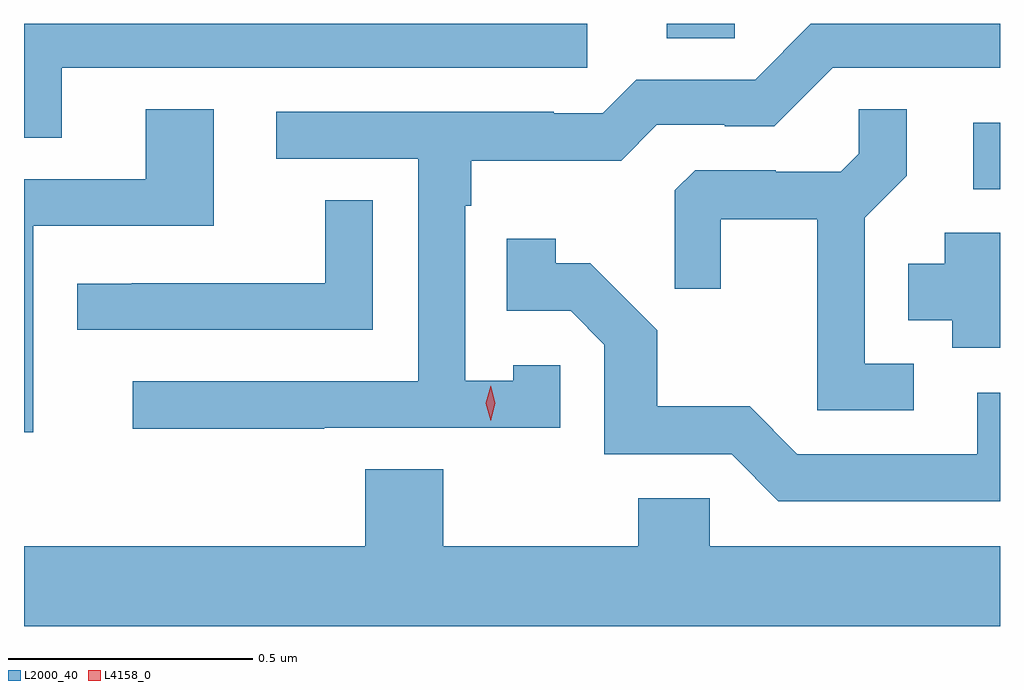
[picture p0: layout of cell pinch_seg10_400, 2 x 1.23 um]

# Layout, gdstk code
import gdstk
lib = gdstk.Library(unit=1e-6, precision=1e-09)
def R(c, l, rs):  # rectangles x0, y0, x1, y1
    for r in rs: c.add(gdstk.rectangle(r[:2], r[2:], *l))
def P(c, l, *ps):  # polygons
    for p in ps: c.add(gdstk.Polygon(p, *l))
L2000_40 = (2000, 40)
L4158_0 = (4158, 0)

pinch_seg10_400 = lib.new_cell('pinch_seg10_400')
R(pinch_seg10_400, L2000_40, [(551.883,1259.919,551.938,1260.055), (551.255,1260.229,551.394,1260.258)])
P(pinch_seg10_400, L2000_40, [(550.553,1259.43),(551.037,1259.43),(551.037,1259.559),(550.941,1259.559),(550.941,1259.527),(550.842,1259.527),(550.842,1259.885),(550.855,1259.885),(550.855,1259.978),(551.162,1259.978),(551.235,1260.051),(551.374,1260.051),(551.374,1260.048),(551.475,1260.048),(551.595,1260.168),(551.938,1260.168),(551.938,1260.258),(551.55,1260.258),(551.436,1260.144),(551.193,1260.144),(551.124,1260.075),(551.024,1260.075),(551.024,1260.078),(550.455,1260.078),(550.455,1259.982),(550.746,1259.982),(550.746,1259.526),(550.161,1259.526),(550.161,1259.428),(550.553,1259.428)],
  [(550.015,1260.168),(551.092,1260.168),(551.092,1260.258),(549.938,1260.258),(549.938,1260.025),(550.015,1260.025)],
  [(549.957,1259.844),(550.327,1259.844),(550.327,1260.083),(550.187,1260.083),(550.187,1259.94),(549.938,1259.94),(549.938,1259.421),(549.957,1259.421)],
  [(551.761,1259.562),(551.661,1259.562),(551.661,1259.861),(551.747,1259.947),(551.747,1260.083),(551.649,1260.083),(551.649,1259.992),(551.612,1259.955),(551.478,1259.955),(551.478,1259.958),(551.313,1259.958),(551.272,1259.917),(551.272,1259.715),(551.366,1259.715),(551.366,1259.858),(551.564,1259.858),(551.564,1259.466),(551.761,1259.466)],
  [(550.653,1259.897),(550.555,1259.897),(550.555,1259.727),(550.159,1259.727),(550.159,1259.726),(550.047,1259.726),(550.047,1259.631),(550.653,1259.631)],
  [(551.938,1259.83),(551.825,1259.83),(551.825,1259.767),(551.75,1259.767),(551.75,1259.651),(551.84,1259.651),(551.84,1259.594),(551.938,1259.594)],
  [(551.938,1259.502),(551.891,1259.502),(551.891,1259.376),(551.523,1259.376),(551.425,1259.475),(551.236,1259.475),(551.236,1259.63),(551.098,1259.768),(551.028,1259.768),(551.028,1259.818),(550.927,1259.818),(550.927,1259.67),(551.058,1259.67),(551.127,1259.601),(551.127,1259.376),(551.388,1259.376),(551.484,1259.28),(551.938,1259.28)],
  [(551.938,1259.188),(551.343,1259.188),(551.343,1259.286),(551.197,1259.286),(551.197,1259.188),(550.797,1259.188),(550.797,1259.345),(550.637,1259.345),(550.637,1259.188),(549.938,1259.188),(549.938,1259.024),(551.938,1259.024)])
P(pinch_seg10_400, L4158_0, [(550.894,1259.445),(550.894,1259.445),(550.884,1259.481),(550.894,1259.517),(550.894,1259.517),(550.894,1259.517),(550.904,1259.481),(550.894,1259.445)])

lib.write_gds('pinch_seg10_400.gds')
